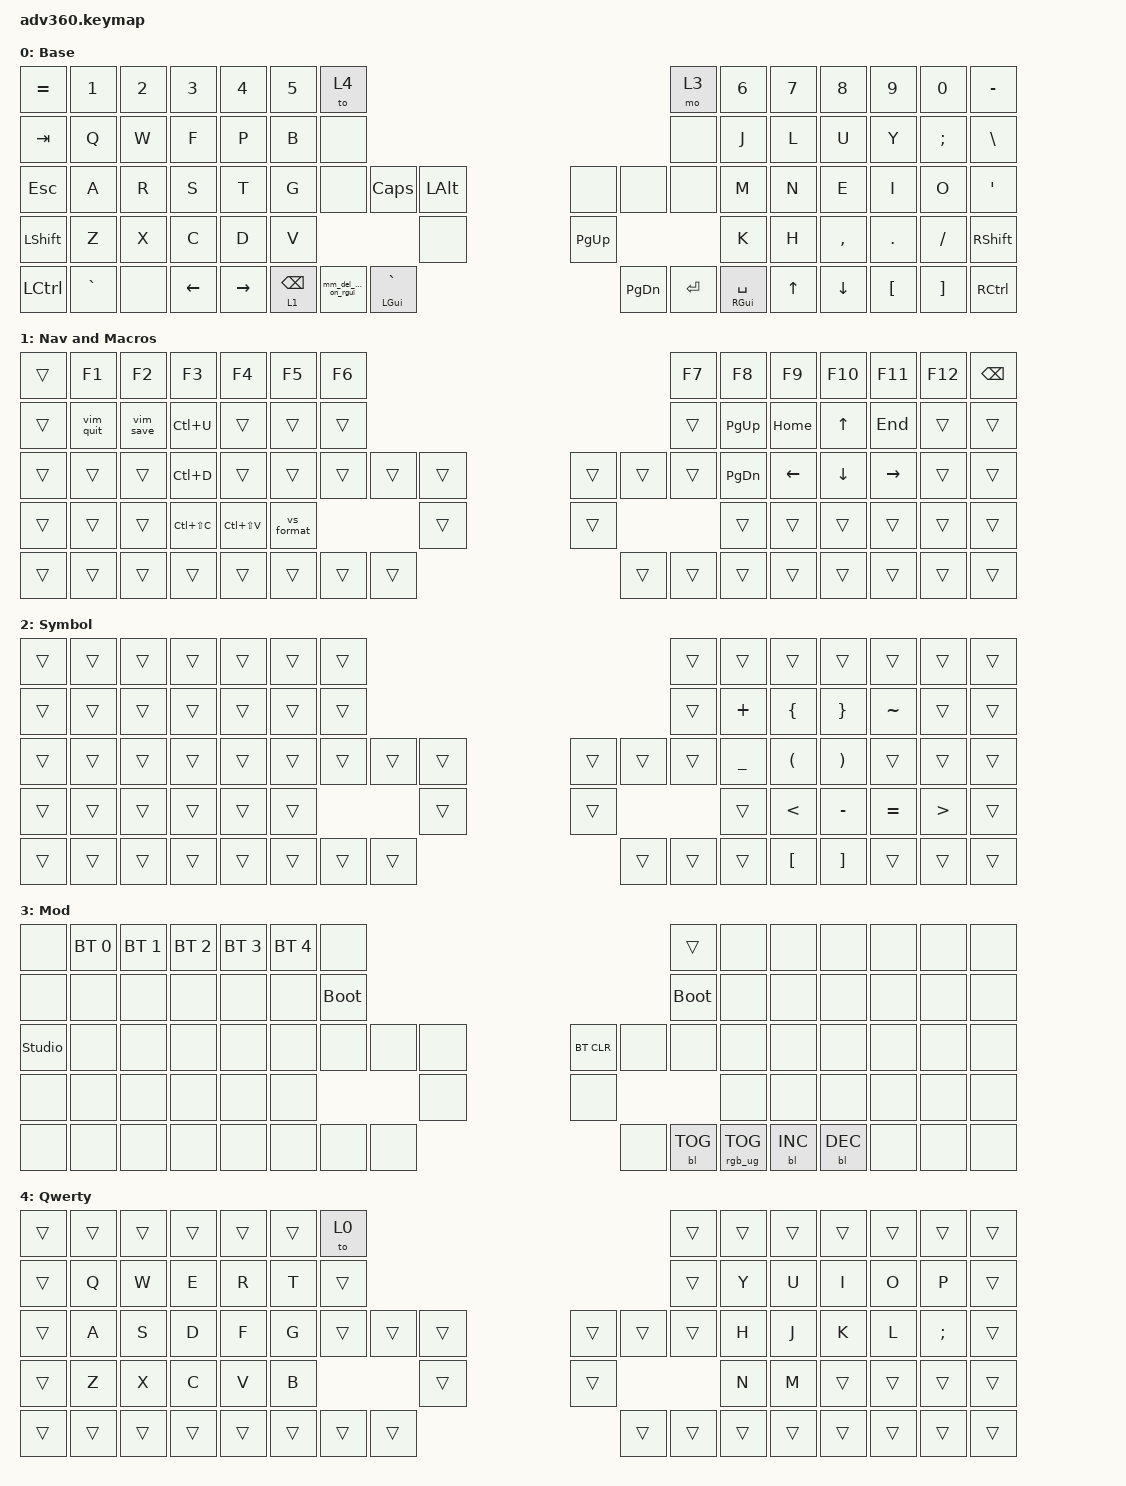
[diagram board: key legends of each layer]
#include <dt-bindings/zmk/stp.h>
#include <behaviors.dtsi>
#include <dt-bindings/zmk/backlight.h>
#include <dt-bindings/zmk/bt.h>
#include <dt-bindings/zmk/keys.h>
#include <dt-bindings/zmk/rgb.h>

/ {
    behaviors {
        #include "macros.dtsi"
      #include "version.dtsi"

        hm: homerow_mods {
            compatible = "zmk,behavior-hold-tap";
            label = "HOMEROW_MODS";
            #binding-cells = <2>;
            tapping-term-ms = <200>;
            quick_tap_ms = <175>;
            flavor = "tap-preferred";
            bindings = <&kp>, <&kp>;
        };

        ht_layer: ht_layer {
            compatible = "zmk,behavior-hold-tap";
            label = "Hold Tap Layer Switch";
            bindings = <&mo>, <&kp>;

            #binding-cells = <2>;
            tapping-term-ms = <200>;
            quick-tap-ms = <200>;
            require-prior-idle-ms = <125>;
            flavor = "tap-preferred";
        };

        ht_keypress: ht_keypress {
            compatible = "zmk,behavior-hold-tap";
            label = "Hold Tap Keypress";
            bindings = <&kp>, <&kp>;

            #binding-cells = <2>;
            tapping-term-ms = <200>;
            quick-tap-ms = <200>;
            require-prior-idle-ms = <125>;
            flavor = "tap-preferred";
        };

        mm_del_space_on_rgui: mm_del_space_on_rgui {
            compatible = "zmk,behavior-mod-morph";
            label = "MM_DEL_SPACE_ON_RGUI";
            bindings = <&ht_layer 2 DELETE>, <&kp SPACE>;

            #binding-cells = <0>;
            mods = <(MOD_RGUI)>;
            keep-mods = <(MOD_RGUI)>;
        };
    };

    macros {
        vim_quit: vim_quit {
            compatible = "zmk,behavior-macro";
            #binding-cells = <0>;
            wait-ms = <30>;
            tap-ms = <30>;
            bindings = <&macro_tap>, <&kp COLON &kp Q &kp ENTER>;

            label = "VIM_QUIT";
        };

        vim_save: vim_save {
            compatible = "zmk,behavior-macro";
            #binding-cells = <0>;
            wait-ms = <30>;
            tap-ms = <30>;
            bindings = <&macro_tap>, <&kp COLON &kp W &kp ENTER>;

            label = "VIM_SAVE";
        };

        vs_format: vs_format {
            compatible = "zmk,behavior-macro";
            #binding-cells = <0>;
            wait-ms = <30>;
            tap-ms = <30>;
            bindings =
                <&macro_press>,
                <&kp LCTRL>,
                <&macro_tap>,
                <&kp K &kp D>,
                <&macro_tap>,
                <&kp K &kp E>,
                <&macro_release>,
                <&kp LCTRL>;
        };
    };

    keymap {
        compatible = "zmk,keymap";

        default_layer {
            display-name = "Base";
            bindings = <
&kp EQUAL   &kp N1     &kp N2  &kp N3    &kp N4     &kp N5  &to 4                                                                                                                                       &mo 3  &kp N6  &kp N7  &kp N8     &kp N9    &kp N0    &kp MINUS
&kp TAB     &kp Q      &kp W   &kp F     &kp P      &kp B   &none                                                                                                                                       &none  &kp J   &kp L   &kp U      &kp Y     &kp SEMI  &kp BSLH
&kp ESCAPE  &kp A      &kp R   &kp S     &kp T      &kp G   &none                         &kp CAPS               &kp LEFT_ALT                   &none          &none                                    &none  &kp M   &kp N   &kp E      &kp I     &kp O     &kp SQT
&kp LSHFT   &kp Z      &kp X   &kp C     &kp D      &kp V                                                        &none                          &kp PAGE_UP                                                    &kp K   &kp H   &kp COMMA  &kp DOT   &kp FSLH  &kp RSHFT
&kp LCTRL   &kp GRAVE  &none   &kp LEFT  &kp RIGHT                 &ht_layer 1 BACKSPACE  &mm_del_space_on_rgui  &ht_keypress LEFT_GUI GRAVE    &kp PAGE_DOWN  &kp ENTER  &ht_keypress RIGHT_GUI SPACE                 &kp UP  &kp DOWN   &kp LBKT  &kp RBKT  &kp RCTRL
            >;
        };

        nav_macro {
            bindings = <
&trans  &kp F1     &kp F2     &kp F3         &kp F4         &kp F5      &kp F6                                                    &kp F7  &kp F8         &kp F9          &kp F10         &kp F11    &kp F12  &kp BACKSPACE
&trans  &vim_quit  &vim_save  &kp LC(U)      &trans         &trans      &trans                                                    &trans  &kp PAGE_UP    &kp HOME        &kp UP          &kp END    &trans   &trans
&trans  &trans     &trans     &kp LC(D)      &trans         &trans      &trans          &trans  &trans    &trans  &trans          &trans  &kp PAGE_DOWN  &kp LEFT_ARROW  &kp DOWN_ARROW  &kp RIGHT  &trans   &trans
&trans  &trans     &trans     &kp LC(LS(C))  &kp LC(LS(V))  &vs_format                          &trans    &trans                          &trans         &trans          &trans          &trans     &trans   &trans
&trans  &trans     &trans     &trans         &trans                             &trans  &trans  &trans    &trans  &trans  &trans                         &trans          &trans          &trans     &trans   &trans
            >;

            label = "Nav and Macros";
        };

        symbol {
            bindings = <
&trans  &trans  &trans  &trans  &trans  &trans  &trans                                                    &trans  &trans     &trans                &trans                 &trans     &trans            &trans
&trans  &trans  &trans  &trans  &trans  &trans  &trans                                                    &trans  &kp PLUS   &kp LEFT_BRACE        &kp RIGHT_BRACE        &kp TILDE  &trans            &trans
&trans  &trans  &trans  &trans  &trans  &trans  &trans          &trans  &trans    &trans  &trans          &trans  &kp UNDER  &kp LEFT_PARENTHESIS  &kp RIGHT_PARENTHESIS  &trans     &trans            &trans
&trans  &trans  &trans  &trans  &trans  &trans                          &trans    &trans                          &trans     &kp LESS_THAN         &kp MINUS              &kp EQUAL  &kp GREATER_THAN  &trans
&trans  &trans  &trans  &trans  &trans                  &trans  &trans  &trans    &trans  &trans  &trans                     &kp LEFT_BRACKET      &kp RIGHT_BRACKET      &trans     &trans            &trans
            >;

            label = "Symbol";
        };

        mod {
            display-name = "Mod";
            bindings = <
&none           &bt BT_SEL 0  &bt BT_SEL 1  &bt BT_SEL 2  &bt BT_SEL 3  &bt BT_SEL 4  &none                                                                        &trans       &none  &none       &none       &none  &none  &none
&none           &none         &none         &none         &none         &none         &bootloader                                                                  &bootloader  &none  &none       &none       &none  &none  &none
&studio_unlock  &none         &none         &none         &none         &none         &none               &none  &none    &bt BT_CLR  &none                        &none        &none  &none       &none       &none  &none  &none
&none           &none         &none         &none         &none         &none                                    &none    &none                                                 &none  &none       &none       &none  &none  &none
&none           &none         &none         &none         &none                                    &none  &none  &none    &none       &bl BL_TOG  &rgb_ug RGB_TOG                      &bl BL_INC  &bl BL_DEC  &none  &none  &none
            >;
        };

        qwerty {
            bindings = <
&trans  &trans  &trans  &trans  &trans  &trans  &to 0                                                     &trans  &trans  &trans  &trans  &trans  &trans    &trans
&trans  &kp Q   &kp W   &kp E   &kp R   &kp T   &trans                                                    &trans  &kp Y   &kp U   &kp I   &kp O   &kp P     &trans
&trans  &kp A   &kp S   &kp D   &kp F   &kp G   &trans          &trans  &trans    &trans  &trans          &trans  &kp H   &kp J   &kp K   &kp L   &kp SEMI  &trans
&trans  &kp Z   &kp X   &kp C   &kp V   &kp B                           &trans    &trans                          &kp N   &kp M   &trans  &trans  &trans    &trans
&trans  &trans  &trans  &trans  &trans                  &trans  &trans  &trans    &trans  &trans  &trans                  &trans  &trans  &trans  &trans    &trans
            >;

            label = "Qwerty";
        };
    };
};
